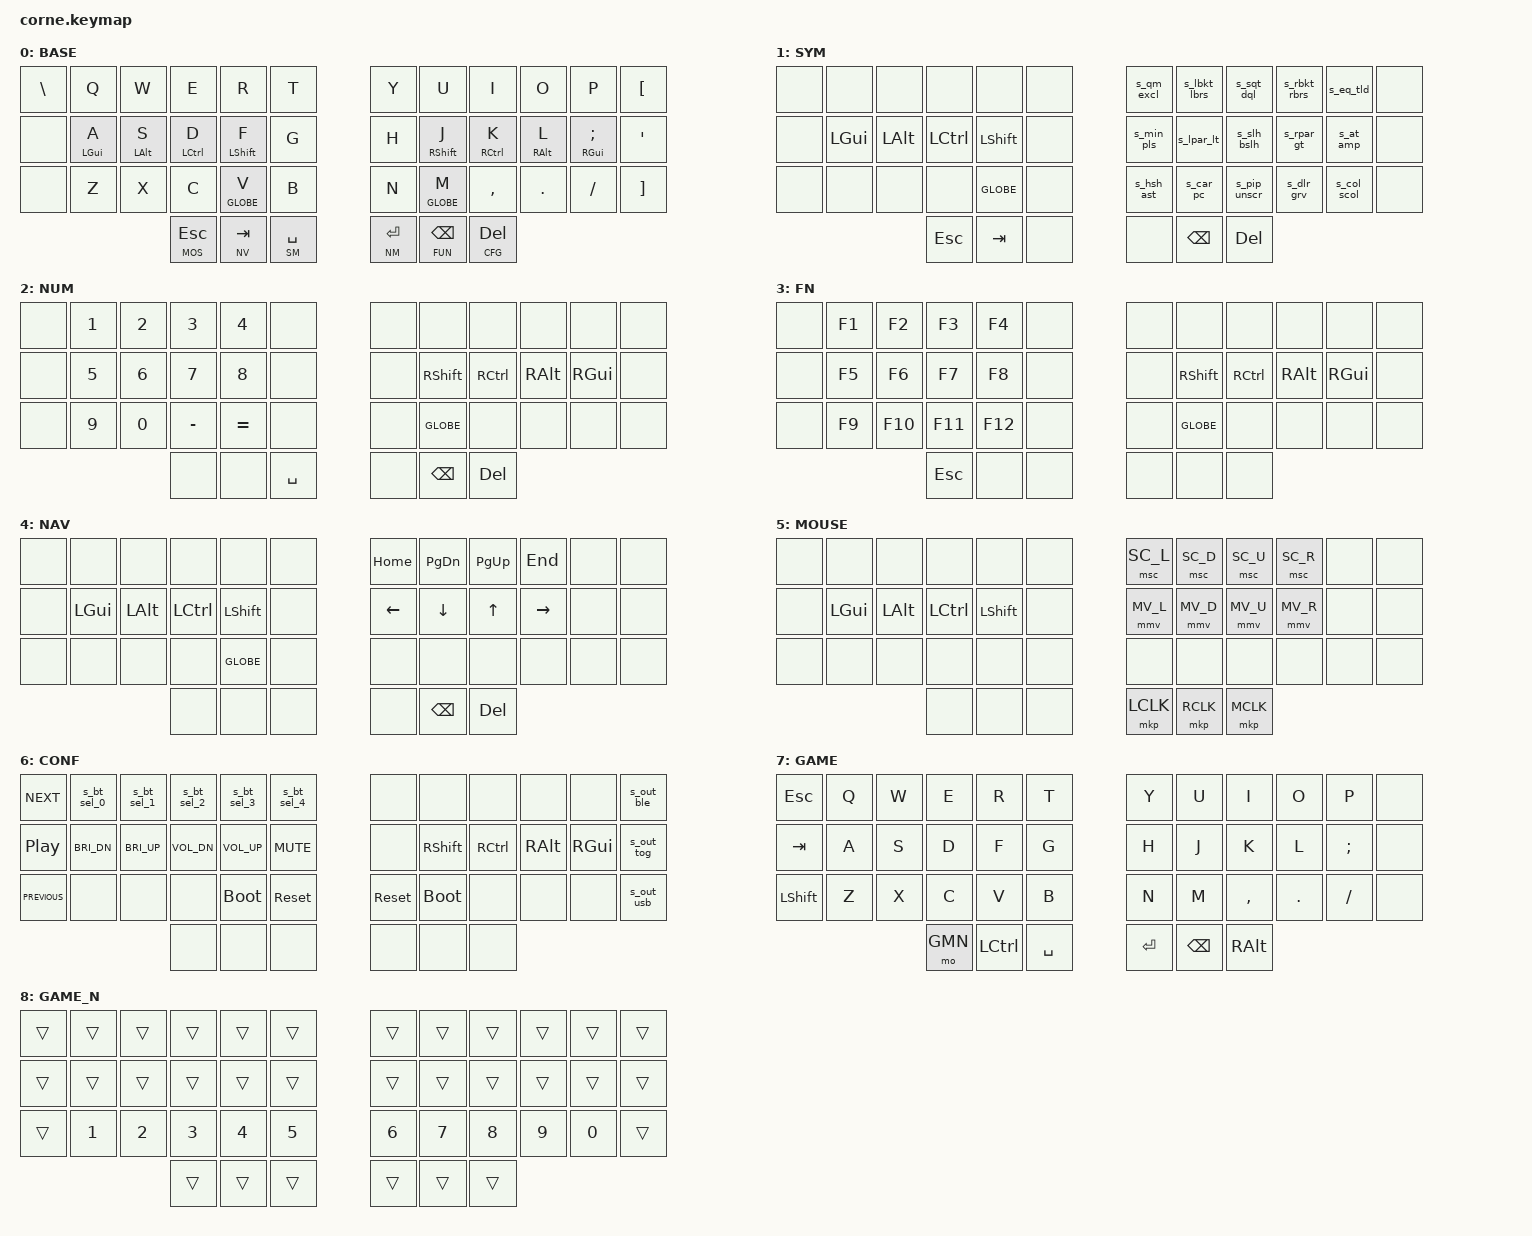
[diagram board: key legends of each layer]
#include <behaviors.dtsi>
#include <dt-bindings/zmk/keys.h>
#include <dt-bindings/zmk/bt.h>
#include <dt-bindings/zmk/outputs.h>

#include "helper/helper.h"
#include "helper/keypos_42keys.h"
#include "helper/macro.h"

#include "mouse.dtsi"

#define QUICK_TAP_MS 175

// left-hand keys
#define KEYS_L \
     LT5 LT4 LT3 LT2 LT1 LT0 \
     LM5 LM4 LM3 LM2 LM1 LM0 \
     LB5 LB4 LB3 LB2 LB1 LB0
/* ╰───────────╮ LH2 LH1 LH0 │
               ╰─────────────╯ */

// right-hand keys
#define KEYS_R \
     RT0 RT1 RT2 RT3 RT4 RT5 \
     RM0 RM1 RM2 RM3 RM4 RM5 \
     RB0 RB1 RB2 RB3 RB4 RB5
/* │ RH0 RH1 RH2 ╭───────────╯
   ╰─────────────╯ */

// thumb keys
#define THUMBS LH2 LH1 LH0 RH0 RH1 RH2

#define _v_ &trans
#define ___ &none

#define SC SEMICOLON
#define PLY_POS C_PLAY_PAUSE
#define C_PREV C_PREVIOUS

/* short layer names */
#define BAS 0
#define SM 1
#define NM 2
#define FUN 3
#define NV 4
#define MOS 5
#define CFG 6
#define GM 7
#define GMN 8


// layer-tap config
&lt {
    flavor = "balanced";
    tapping-term-ms = <200>;
    quick-tap-ms = <QUICK_TAP_MS>;
};

// shift macros for OUT contorls
SHIFT_FUNCTION(s_out_ble, ___, &out OUT_BLE)
SHIFT_FUNCTION(s_out_tog, ___, &out OUT_TOG)
SHIFT_FUNCTION(s_out_usb, ___, &out OUT_USB)

// shift macros for BT contorls
SHIFT_MACRO(s_bt_sel_0, &bt BT_SEL 0, &bt BT_SEL 0 &bt BT_CLR)
SHIFT_MACRO(s_bt_sel_1, &bt BT_SEL 1, &bt BT_SEL 1 &bt BT_CLR)
SHIFT_MACRO(s_bt_sel_2, &bt BT_SEL 2, &bt BT_SEL 2 &bt BT_CLR)
SHIFT_MACRO(s_bt_sel_3, &bt BT_SEL 3, &bt BT_SEL 3 &bt BT_CLR)
SHIFT_MACRO(s_bt_sel_4, &bt BT_SEL 4, &bt BT_SEL 4 &bt BT_CLR)

// shift macros for sym layer
SHIFT_FUNCTION(s_qm_excl, &kp QMARK, &kp EXCL)
SHIFT_FUNCTION(s_min_pls, &kp MINUS, &kp PLUS)
SHIFT_FUNCTION(s_hsh_ast, &kp HASH, &kp ASTERISK)
SHIFT_FUNCTION(s_lbkt_lbrs, &kp LEFT_BRACKET, &kp LEFT_BRACE)
SHIFT_FUNCTION(s_lpar_lt, &kp LEFT_PARENTHESIS, &kp LESS_THAN)
SHIFT_FUNCTION(s_car_pc, &kp CARET, &kp PERCENT)
SHIFT_FUNCTION(s_sqt_dql, &kp SINGLE_QUOTE, &kp DOUBLE_QUOTES)
SHIFT_FUNCTION(s_slh_bslh, &kp SLASH, &kp BACKSLASH)
SHIFT_FUNCTION(s_pip_unscr, &kp PIPE, &kp UNDERSCORE)
SHIFT_FUNCTION(s_rpar_gt, &kp RIGHT_PARENTHESIS, &kp GREATER_THAN)  
SHIFT_FUNCTION(s_rbkt_rbrs, &kp RIGHT_BRACKET, &kp RIGHT_BRACE)
SHIFT_FUNCTION(s_dlr_grv, &kp DOLLAR, &kp GRAVE)
SHIFT_FUNCTION(s_eq_tld, &kp EQUAL, &kp TILDE)
SHIFT_FUNCTION(s_at_amp, &kp AT_SIGN, &kp AMPERSAND)
SHIFT_FUNCTION(s_col_scol, &kp COLON, &kp SEMICOLON)

/* smart mouse */
// ZMK_BEHAVIOR(smart_mouse, tri_state,
//     bindings = <&tog MOS>, <&none>, <&tog MOS>;
//     ignored-key-positions = <                  RT1 RT2 RT3 RT4
//                              LM4 LM3 LM2 LM1   RM1 RM2 RM3 RM4
//                                                RH0 RH1 RH2>;
//     ignored-layers = <MOS>, <BAS>;
// )

// #define s_mouse smart_mouse

/* left-hand HRMs */
ZMK_BEHAVIOR(hml, hold_tap,
    flavor = "balanced";
    tapping-term-ms = <5000>;
    quick-tap-ms = <QUICK_TAP_MS>;
    require-prior-idle-ms = <260>;
    bindings = <&kp>, <&kp>;
    hold-trigger-on-release;
    hold-trigger-key-positions = <KEYS_R THUMBS>;
)

/* right-hand HRMs */
ZMK_BEHAVIOR(hmr, hold_tap,
    flavor = "balanced";
    tapping-term-ms = <5000>;
    quick-tap-ms = <QUICK_TAP_MS>;
    require-prior-idle-ms = <260>;
    bindings = <&kp>, <&kp>;
    hold-trigger-on-release;
    hold-trigger-key-positions = <KEYS_L THUMBS>;
)

/*
&num_word {  // num-word, requires PR #1451
    layers = <NM>;
    continue-list = <BSPC DEL DOT COMMA PLUS MINUS STAR FSLH EQUAL>;
};
*/

&caps_word {  // mods deactivate caps-word, requires PR #1451
    /delete-property/ ignore-modifiers;
};

/*                KEY POSITIONS

  ╭─────────────────────╮ ╭─────────────────────╮
  │ LT4 LT3 LT2 LT1 LT0 │ │ RT0 RT1 RT2 RT3 RT4 │
  │ LM4 LM3 LM2 LM1 LM0 │ │ RM0 RM1 RM2 RM3 RM4 │
  │ LB4 LB3 LB2 LB1 LB0 │ │ RB0 RB1 RB2 RB3 RB4 │
  ╰───────╮ LH2 LH1 LH0 │ │ RH0 RH1 RH2 ╭───────╯
          ╰─────────────╯ ╰─────────────╯ */

// use require-prior-idle-ms for combos
#undef COMBO_HOOK
#define COMBO_HOOK require-prior-idle-ms = <150>;

#define COMBO_TERM_FAST 18
#define COMBO_TERM_SLOW 30

/* Horizontal combos - thumbs */
ZMK_COMBO(bas_inner_thmbs, &to GM,     LH0 RH0, BAS,     COMBO_TERM_FAST)
ZMK_COMBO(gm_inner_thmbs,  &to BAS,    LH0 RH0,      GM, COMBO_TERM_FAST)
// ZMK_COMBO(bas_mid_thmbs,   &s_mouse,   LH1 RH1, BAS,     COMBO_TERM_FAST)
ZMK_COMBO(bas_outer_thmbs, &caps_word, LH2 RH2, BAS,     COMBO_TERM_FAST)

ZMK_LAYER(BASE,
//╭.............┬─────────────┬─────────────┬─────────────┬─────────────┬─────────────╮ ╭─────────────┬─────────────┬─────────────┬─────────────┬─────────────┬.............╮
    &kp BSLH      &kp Q         &kp W         &kp E         &kp R         &kp T           &kp Y         &kp U         &kp I         &kp O         &kp P         &kp LBKT
//├.............┼─────────────┼─────────────┼─────────────┼─────────────┼─────────────┤ ├─────────────┼─────────────┼─────────────┼─────────────┼─────────────┼.............┤
    ___           &hml LGUI A   &hml LALT S   &hml LCTRL D  &hml LSHFT F  &kp G           &kp H         &hmr RSHFT J  &hmr RCTRL K  &hmr RALT L   &hmr RGUI SC  &kp SQT
//├.............┼─────────────┼─────────────┼─────────────┼─────────────┼─────────────┤ ├─────────────┼─────────────┼─────────────┼─────────────┼─────────────┼.............┤
    ___           &kp Z         &kp X         &kp C         &hml GLOBE V  &kp B           &kp N         &hmr GLOBE M  &kp COMMA     &kp DOT       &kp FSLH      &kp RBKT
//╰.............┼─────────────┴─────────────┼─────────────┼─────────────┼─────────────┤ ├─────────────┼─────────────┼─────────────┴─────────────┴─────────────┴.............╯
                                              &lt MOS ESC   &lt NV TAB    &lt SM SPACE    &lt NM RET    &lt FUN BSPC   &lt CFG DEL
//                                          ╰─────────────┴─────────────┴─────────────╯ ╰─────────────┴─────────────┴─────────────╯
)

ZMK_LAYER(SYM,
//╭.............┬─────────────┬─────────────┬─────────────┬─────────────┬─────────────╮ ╭─────────────┬─────────────┬─────────────┬─────────────┬─────────────┬.............╮
    ___           ___           ___           ___           ___           ___             &s_qm_excl    &s_lbkt_lbrs  &s_sqt_dql    &s_rbkt_rbrs  &s_eq_tld     ___
//├.............┼─────────────┼─────────────┼─────────────┼─────────────┼─────────────┤ ├─────────────┼─────────────┼─────────────┼─────────────┼─────────────┼.............┤
    ___           &kp LGUI      &kp LALT      &kp LCTRL     &kp LSHFT     ___             &s_min_pls    &s_lpar_lt    &s_slh_bslh   &s_rpar_gt    &s_at_amp     ___
//├.............┼─────────────┼─────────────┼─────────────┼─────────────┼─────────────┤ ├─────────────┼─────────────┼─────────────┼─────────────┼─────────────┼.............┤
    ___           ___           ___           ___           &kp GLOBE     ___             &s_hsh_ast    &s_car_pc     &s_pip_unscr  &s_dlr_grv    &s_col_scol   ___
//╰.............┼─────────────┴─────────────┼─────────────┼─────────────┼─────────────┤ ├─────────────┼─────────────┼─────────────┴─────────────┴─────────────┴.............╯
                                              &kp ESC       &kp TAB       ___             ___           &kp BSPC      &kp DEL
//                                          ╰─────────────┴─────────────┴─────────────╯ ╰─────────────┴─────────────┴─────────────╯
)

ZMK_LAYER(NUM,
//╭.............┬─────────────┬─────────────┬─────────────┬─────────────┬─────────────╮ ╭─────────────┬─────────────┬─────────────┬─────────────┬─────────────┬.............╮
    ___           &kp N1        &kp N2        &kp N3        &kp N4        ___             ___           ___           ___           ___           ___           ___
//├.............┼─────────────┼─────────────┼─────────────┼─────────────┼─────────────┤ ├─────────────┼─────────────┼─────────────┼─────────────┼─────────────┼.............┤
    ___           &kp N5        &kp N6        &kp N7        &kp N8        ___             ___           &kp RSHFT     &kp RCTRL     &kp RALT      &kp RGUI      ___
//├.............┼─────────────┼─────────────┼─────────────┼─────────────┼─────────────┤ ├─────────────┼─────────────┼─────────────┼─────────────┼─────────────┼.............┤
    ___           &kp N9        &kp N0        &kp MINUS     &kp EQUAL     ___             ___           &kp GLOBE     ___           ___           ___           ___
//╰.............┼─────────────┴─────────────┼─────────────┼─────────────┼─────────────┤ ├─────────────┼─────────────┼─────────────┴─────────────┴─────────────┴.............╯
                                              ___           ___           &kp SPACE       ___           &kp BSPC      &kp DEL
//                                          ╰─────────────┴─────────────┴─────────────╯ ╰─────────────┴─────────────┴─────────────╯
)


ZMK_LAYER(FN,
//╭.............┬─────────────┬─────────────┬─────────────┬─────────────┬─────────────╮ ╭─────────────┬─────────────┬─────────────┬─────────────┬─────────────┬.............╮
    ___           &kp F1        &kp F2        &kp F3        &kp F4        ___             ___           ___           ___           ___           ___           ___
//├.............┼─────────────┼─────────────┼─────────────┼─────────────┼─────────────┤ ├─────────────┼─────────────┼─────────────┼─────────────┼─────────────┼.............┤
    ___           &kp F5        &kp F6        &kp F7        &kp F8        ___             ___           &kp RSHFT     &kp RCTRL     &kp RALT      &kp RGUI      ___
//├.............┼─────────────┼─────────────┼─────────────┼─────────────┼─────────────┤ ├─────────────┼─────────────┼─────────────┼─────────────┼─────────────┼.............┤
    ___           &kp F9        &kp F10       &kp F11       &kp F12       ___             ___           &kp GLOBE     ___           ___           ___           ___
//╰.............┼─────────────┴─────────────┼─────────────┼─────────────┼─────────────┤ ├─────────────┼─────────────┼─────────────┴─────────────┴─────────────┴.............╯
                                              &kp ESC       ___           ___             ___           ___           ___
//                                          ╰─────────────┴─────────────┴─────────────╯ ╰─────────────┴─────────────┴─────────────╯
)

ZMK_LAYER(NAV,
 //╭............─┬─────────────┬─────────────┬─────────────┬─────────────┬─────────────╮ ╭─────────────┬─────────────┬─────────────┬─────────────┬─────────────┬.............╮
     ___           ___           ___           ___           ___           ___             &kp HOME      &kp PG_DN     &kp PG_UP     &kp END       ___           ___
 //├.............┼─────────────┼─────────────┼─────────────┼─────────────┼─────────────┤ ├─────────────┼─────────────┼─────────────┼─────────────┼─────────────┼.............┤
     ___           &kp LGUI     &kp LALT      &kp LCTRL      &kp LSHFT     ___             &kp LEFT      &kp DOWN      &kp UP        &kp RIGHT     ___           ___
 //├.............┼─────────────┼─────────────┼─────────────┼─────────────┼─────────────┤ ├─────────────┼─────────────┼─────────────┼─────────────┼─────────────┼.............┤
     ___           ___           ___           ___           &kp GLOBE     ___             ___           ___           ___           ___           ___           ___
 //╰.............┼─────────────┴─────────────┼─────────────┼─────────────┼─────────────┤ ├─────────────┼─────────────┼─────────────┴─────────────┴─────────────┴.............╯
                                               ___           ___           ___             ___           &kp BSPC      &kp DEL
 //                                          ╰─────────────┴─────────────┴─────────────╯ ╰─────────────┴─────────────┴─────────────╯
)



ZMK_LAYER(MOUSE,
 //╭.............┬─────────────┬─────────────┬─────────────┬─────────────┬─────────────╮ ╭─────────────┬─────────────┬─────────────┬─────────────┬─────────────┬.............╮
     ___           ___           ___           ___           ___           ___             &msc SC_L     &msc SC_D     &msc SC_U     &msc SC_R     ___           ___
 //├.............┼─────────────┼─────────────┼─────────────┼─────────────┼─────────────┤ ├─────────────┼─────────────┼─────────────┼─────────────┼─────────────┼.............┤
     ___           &kp LGUI     &kp LALT      &kp LCTRL      &kp LSHFT     ___             &mmv MV_L     &mmv MV_D     &mmv MV_U     &mmv MV_R     ___           ___
 //├.............┼─────────────┼─────────────┼─────────────┼─────────────┼─────────────┤ ├─────────────┼─────────────┼─────────────┼─────────────┼─────────────┼.............┤
     ___           ___           ___           ___           ___           ___             ___           ___           ___           ___           ___           ___
 //╰.............┼─────────────┴─────────────┼─────────────┼─────────────┼─────────────┤ ├─────────────┼─────────────┼─────────────┴─────────────┴─────────────┴.............╯
                                               ___           ___           ___             &mkp LCLK     &mkp RCLK     &mkp MCLK
 //                                          ╰─────────────┴─────────────┴─────────────╯ ╰─────────────┴─────────────┴─────────────╯
)

ZMK_LAYER(CONF,
 //╭.............┬─────────────┬─────────────┬─────────────┬─────────────┬─────────────╮ ╭─────────────┬─────────────┬─────────────┬─────────────┬─────────────┬.............╮
     &kp C_NEXT    &s_bt_sel_0   &s_bt_sel_1   &s_bt_sel_2   &s_bt_sel_3   &s_bt_sel_4     ___           ___           ___           ___           ___           &s_out_ble
 //├.............┼─────────────┼─────────────┼─────────────┼─────────────┼─────────────┤ ├─────────────┼─────────────┼─────────────┼─────────────┼─────────────┼.............┤
     &kp PLY_POS   &kp C_BRI_DN  &kp C_BRI_UP  &kp C_VOL_DN  &kp C_VOL_UP  &kp C_MUTE      ___           &kp RSHFT     &kp RCTRL     &kp RALT      &kp RGUI      &s_out_tog
 //├.............┼─────────────┼─────────────┼─────────────┼─────────────┼─────────────┤ ├─────────────┼─────────────┼─────────────┼─────────────┼─────────────┼.............┤
     &kp C_PREV    ___           ___           ___           &bootloader   &sys_reset      &sys_reset    &bootloader   ___           ___           ___           &s_out_usb
 //╰.............┼─────────────┴─────────────┼─────────────┼─────────────┼─────────────┤ ├─────────────┼─────────────┼─────────────┴─────────────┴─────────────┴.............╯
                                               ___           ___           ___             ___           ___           ___
 //                                          ╰─────────────┴─────────────┴─────────────╯ ╰─────────────┴─────────────┴─────────────╯
)

ZMK_LAYER(GAME,
//╭.............┬─────────────┬─────────────┬─────────────┬─────────────┬─────────────╮ ╭─────────────┬─────────────┬─────────────┬─────────────┬─────────────┬.............╮
    &kp ESC       &kp Q         &kp W         &kp E         &kp R         &kp T           &kp Y         &kp U         &kp I         &kp O         &kp P         ___
//├.............┼─────────────┼─────────────┼─────────────┼─────────────┼─────────────┤ ├─────────────┼─────────────┼─────────────┼─────────────┼─────────────┼.............┤
    &kp TAB       &kp A         &kp S         &kp D         &kp F         &kp G           &kp H         &kp J         &kp K         &kp L         &kp SC        ___
//├.............┼─────────────┼─────────────┼─────────────┼─────────────┼─────────────┤ ├─────────────┼─────────────┼─────────────┼─────────────┼─────────────┼.............┤
    &kp LSHFT     &kp Z         &kp X         &kp C         &kp V         &kp B           &kp N         &kp M         &kp COMMA     &kp DOT       &kp FSLH      ___
//╰.............┼─────────────┴─────────────┼─────────────┼─────────────┼─────────────┤ ├─────────────┼─────────────┼─────────────┴─────────────┴─────────────┴.............╯
                                              &mo GMN       &kp LCTRL     &kp SPACE       &kp RET       &kp BSPC      &kp RALT
//                                          ╰─────────────┴─────────────┴─────────────╯ ╰─────────────┴─────────────┴─────────────╯
)

ZMK_LAYER(GAME_N,
//╭.............┬─────────────┬─────────────┬─────────────┬─────────────┬─────────────╮ ╭─────────────┬─────────────┬─────────────┬─────────────┬─────────────┬.............╮
    _v_           _v_           _v_           _v_           _v_           _v_             _v_           _v_           _v_            _v_           _v_          _v_
//├.............┼─────────────┼─────────────┼─────────────┼─────────────┼─────────────┤ ├─────────────┼─────────────┼─────────────┼─────────────┼─────────────┼.............┤
    _v_           _v_           _v_           _v_           _v_           _v_             _v_           _v_           _v_            _v_           _v_          _v_
//├.............┼─────────────┼─────────────┼─────────────┼─────────────┼─────────────┤ ├─────────────┼─────────────┼─────────────┼─────────────┼─────────────┼.............┤
    _v_           &kp N1        &kp N2        &kp N3        &kp N4        &kp N5          &kp N6        &kp N7        &kp N8         &kp N9        &kp N0       _v_
//╰.............┼─────────────┴─────────────┼─────────────┼─────────────┼─────────────┤ ├─────────────┼─────────────┼─────────────┴─────────────┴─────────────┴.............╯
                                              _v_           _v_           _v_             _v_           _v_           _v_ 
//                                          ╰─────────────┴─────────────┴─────────────╯ ╰─────────────┴─────────────┴─────────────╯
)
 
